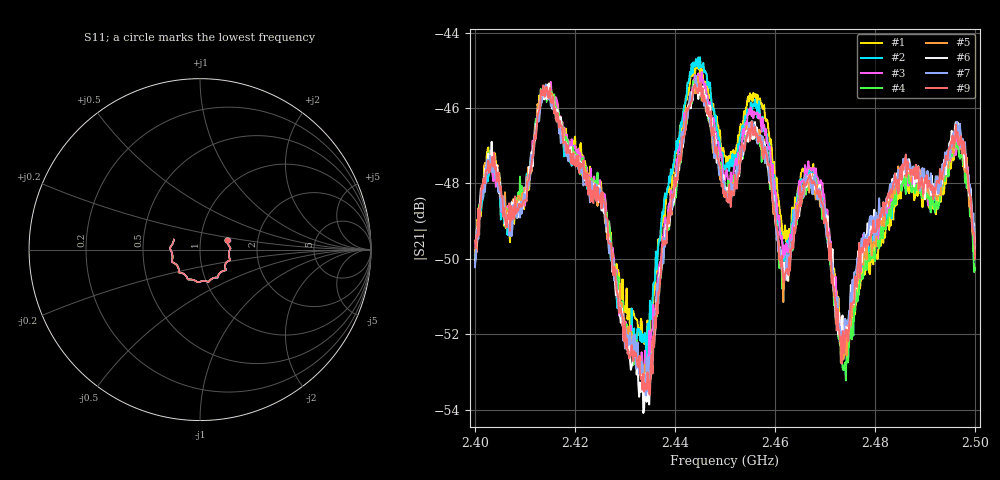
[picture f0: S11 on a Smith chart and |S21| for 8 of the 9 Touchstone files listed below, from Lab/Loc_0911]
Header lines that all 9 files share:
# Hz S RI R
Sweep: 2.4 GHz to 2.5 GHz
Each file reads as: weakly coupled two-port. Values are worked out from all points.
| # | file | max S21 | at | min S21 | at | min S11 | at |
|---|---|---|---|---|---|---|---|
| 1 | Lab_139_1Ch1.s2p | -44.81 dB | 2.4448 GHz | -52.6 dB | 2.4737 GHz | -15.8 dB | 2.499 GHz |
| 2 | Lab_139_2Ch1.s2p | -44.66 dB | 2.445 GHz | -52.6 dB | 2.4343 GHz | -15.8 dB | 2.4993 GHz |
| 3 | Lab_139_3Ch1.s2p | -45.05 dB | 2.4453 GHz | -53.1 dB | 2.4338 GHz | -15.8 dB | 2.4993 GHz |
| 4 | Lab_139_5Ch1.s2p | -45.29 dB | 2.4437 GHz | -53.7 dB | 2.4338 GHz | -15.8 dB | 2.4993 GHz |
| 5 | Lab_139_6Ch1.s2p | -45.16 dB | 2.4445 GHz | -53.4 dB | 2.4342 GHz | -15.8 dB | 2.4992 GHz |
| 6 | Lab_139_7Ch1.s2p | -45.35 dB | 2.4148 GHz | -54.1 dB | 2.4337 GHz | -15.8 dB | 2.499 GHz |
| 7 | Lab_139_8Ch1.s2p | -45.14 dB | 2.4442 GHz | -53.6 dB | 2.4342 GHz | -15.8 dB | 2.4993 GHz |
| 8 | Lab_139_9Ch1.s2p | -45.32 dB | 2.4448 GHz | -54.0 dB | 2.4342 GHz | -15.8 dB | 2.4988 GHz |
| 9 | Lab_139_10Ch1.s2p | -45.32 dB | 2.4452 GHz | -53.6 dB | 2.435 GHz | -15.8 dB | 2.4993 GHz |
